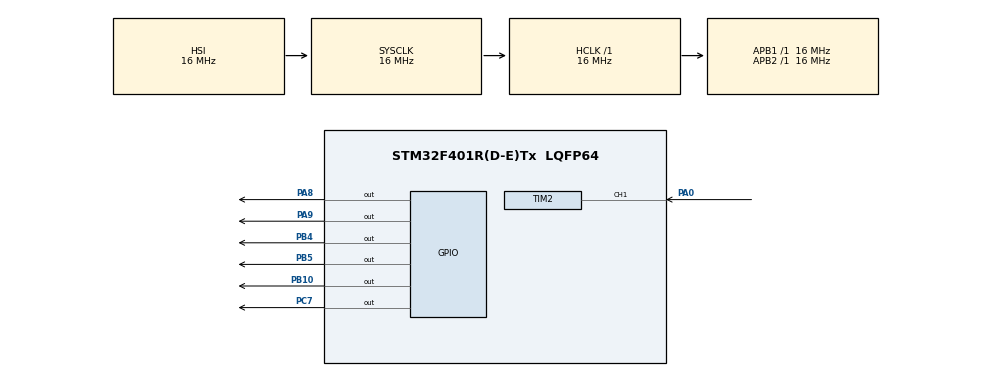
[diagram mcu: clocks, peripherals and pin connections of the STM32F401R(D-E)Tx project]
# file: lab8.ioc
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Mcu.Family=STM32F4
Mcu.Name=STM32F401R(D-E)Tx
Mcu.Package=LQFP64
NVIC.PriorityGroup=NVIC_PRIORITYGROUP_4
NVIC.TIM2_IRQn=true\:0\:0\:false\:false\:true\:true\:true\:true
NVIC.TIM3_IRQn=true\:0\:0\:false\:false\:true\:true\:true\:true
PA0-WKUP.Signal=S_TIM2_CH1_ETR
PA8.Signal=GPIO_Output
PA9.Signal=GPIO_Output
PB10.Signal=GPIO_Output
PB4.Signal=GPIO_Output
PB5.Signal=GPIO_Output
PC7.Signal=GPIO_Output
ProjectManager.HeapSize=0x200
ProjectManager.StackSize=0x400
ProjectManager.TargetToolchain=MDK-ARM V5.32
RCC.AHBFreq_Value=16000000
RCC.APB1Freq_Value=16000000
RCC.APB1TimFreq_Value=16000000
RCC.APB2Freq_Value=16000000
RCC.APB2TimFreq_Value=16000000
RCC.CortexFreq_Value=16000000
RCC.HCLKFreq_Value=16000000
RCC.HSE_VALUE=25000000
RCC.HSI_VALUE=16000000
RCC.LSE_VALUE=32768
RCC.SYSCLKFreq_VALUE=16000000
RCC.VCOOutputFreq_Value=192000000
SH.S_TIM2_CH1_ETR.0=TIM2_CH1,Input_Capture1_from_TI1
TIM2.AutoReloadPreload=TIM_AUTORELOAD_PRELOAD_DISABLE
TIM2.Channel-Input_Capture1_from_TI1=TIM_CHANNEL_1
TIM2.ICFilter_CH1=15
TIM2.ICPolarity_CH1=TIM_INPUTCHANNELPOLARITY_BOTHEDGE
TIM2.Period=4294967
TIM2.Prescaler=15999
TIM3.Period=9
TIM3.Prescaler=15999
TIM5.Prescaler=15999
VP_TIM2_VS_ClockSourceINT.Mode=Internal
VP_TIM3_VS_ClockSourceINT.Mode=Internal
VP_TIM5_VS_ClockSourceINT.Mode=Internal
board=custom

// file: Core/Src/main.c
/* USER CODE BEGIN Header */
/**
  ******************************************************************************
  * @file           : main.c
  * @brief          : Main program body
  ******************************************************************************
  * @attention
  *
  * Copyright (c) 2022 STMicroelectronics.
  * All rights reserved.
  *
  * This software is licensed under terms that can be found in the LICENSE file
  * in the root directory of this software component.
  * If no LICENSE file comes with this software, it is provided AS-IS.
  *
  ******************************************************************************
  */
/* USER CODE END Header */
#include "main.h"

/* USER CODE BEGIN Includes */
#define IDLE   0
#define DONE   1
#define F_CLK  72000000UL
#define RS 0x20     /* Pin mask for reg select (pin 5) */
#define RW 0x40     /* Pin mask for read/write (pin 6) */
#define EN 0x80     /* Pin mask for enable     (pin 7) */
/* USER CODE END Includes */

/* USER CODE BEGIN PTD */
volatile uint8_t gu8_State = IDLE;
volatile uint8_t gu8_MSG[35] = {'\0'};
volatile uint32_t gu32_T1 = 0;
volatile uint32_t gu32_T2 = 0;
volatile uint32_t start = 0;
int temp=0;
/* USER CODE END PTD */

 TIM_HandleTypeDef htim2;
TIM_HandleTypeDef htim3;
TIM_HandleTypeDef htim5;

void SystemClock_Config(void);
static void MX_GPIO_Init(void);
static void MX_TIM2_Init(void);
static void MX_TIM3_Init(void);
static void MX_TIM5_Init(void);
/* USER CODE BEGIN PFP */
char* convertIntegerToChar(uint32_t N);
/* USER CODE END PFP */

/* USER CODE BEGIN 0 */
void delayMs(int n) {
		int j;
    int i;
    for (; n>0; n--)
        for (i = 0; i < 3195; i++) {}
}

char* convertIntegerToChar(uint32_t N)
{
    int m = N;
    int digit = 0;
    while (m) {
        digit++;

        m /= 10;
    }
    char* arr;
    char arr1[digit];
    arr = (char*)malloc(digit);
    int index = 0;
    while (N) {
        arr1[++index] = N % 10 + '0';

        N /= 10;
    }
    int i;
    for (i = 0; i < index; i++) {
        arr[i] = arr1[index - i];
    }
    arr[i] = '\0';
    return (char*)arr;
}void LCD_nibble_write(char data, unsigned long control) {

	GPIOC->BSRR = 0xFFFF0000;
	GPIOA->BSRR = 0xFFEF0000;
	GPIOB->BSRR = 0xFFFF0000;

	if ( data & 0x10)
		GPIOB->BSRR = 0x00000020;
	if ( data & 0x20)
		GPIOB->BSRR = 0x00000010;
	if ( data & 0x40)
		GPIOB->BSRR = 0x00000400;

	if ( data & 0x80)
		GPIOA->BSRR = 0x00000100;

	 if (control & RS)
       GPIOA->BSRR = 0x00000200;
    else
       GPIOA->BSRR = 0x02000000;

		/* pulse E */
   GPIOC->BSRR = 0x00000080;
   delayMs(2);
   GPIOC->BSRR =  0x00800000;
}
void LCD_command(unsigned char command) {
    LCD_nibble_write(command & 0xF0, 0);    /* upper nibble first */
    LCD_nibble_write(command << 4, 0);      /* then lower nibble */

    if (command < 4)
        delayMs(2);         /* command 1 and 2 needs up to 1.64ms */
    else
        delayMs(1);         /* all others 40 us */
}
void LCD_data(char data) {
    LCD_nibble_write(data & 0xF0, RS);      /* upper nibble first */
    LCD_nibble_write(data << 4, RS);        /* then lower nibble */

    delayMs(1);
}
void LCD_init(void) {
    delayMs(20);                /* LCD controller reset sequence */
    LCD_nibble_write(0x30, 0);
    delayMs(5);
    LCD_nibble_write(0x30, 0);
    delayMs(1);
    LCD_nibble_write(0x30, 0);
    delayMs(1);

    LCD_nibble_write(0x20, 0);  /* use 4-bit data mode */
    delayMs(1);
    LCD_command(0x28);          /* set 4-bit data, 2-line, 5x7 font */
    LCD_command(0x06);          /* move cursor right */
    LCD_command(0x01);           /* clear screen, move cursor to home */
    LCD_command(0x0F);          /* turn on display, cursor blinking */
}
void LCD_clear(){
LCD_command(1);
}
void write(int i){
				uint32_t j=i;
				int count=0;
				while (j>0){
				j=j/10;
				count=count+1;
					}
				char* arr = convertIntegerToChar(i);
				for (int t = 0; t < count; t++){
					LCD_data(arr[t]);
				}

}
void HAL_TIM_PeriodElapsedCallback(TIM_HandleTypeDef* htim){
				uint32_t sadom=0;
				uint32_t second = 0;
				uint32_t min = 0;
			if ( htim->Instance == TIM3){
				LCD_clear();
				uint32_t i=__HAL_TIM_GET_COUNTER(&htim5);
				sadom=(i%1000)/10;
				second = (i/1000)%60;
				uint32_t min = i/60000;
				if (min>0) write(min);
				else LCD_data('0');
				LCD_data(':');
				if (second>0) write(second);
				else LCD_data('0');
				LCD_data(':');
				write(sadom);

	}
}

void HAL_TIM_IC_CaptureCallback(TIM_HandleTypeDef* htim)
	{
	if (htim->Instance == TIM2){
			if(temp!=0){
    if(gu8_State == IDLE)
    {
			__HAL_TIM_SetCounter(&htim2,0);
			gu32_T1 = 0;
			gu8_State=DONE;
    }
    else if(gu8_State == DONE)
    {
        gu32_T2 = __HAL_TIM_GetCompare(&htim2,TIM_CHANNEL_1);
				uint32_t time =gu32_T2-gu32_T1;
			__HAL_TIM_SetCounter(&htim2,0);
			if (time>=500){
				LCD_clear();
				LCD_data('0');
				LCD_data(':');
				LCD_data('0');
				LCD_data(':');
				LCD_data('0');
			__HAL_TIM_SetCounter(&htim5,0);
			__HAL_TIM_SetCounter(&htim3,0);
			}
			else{
			if (start ==1){
					start = 0;
					HAL_TIM_Base_Stop(&htim5);
					HAL_TIM_Base_Stop_IT(&htim3);
				}
				else{
				start=1;
				HAL_TIM_Base_Start(&htim5);
				HAL_TIM_Base_Start_IT(&htim3);
				}
			}
				gu8_State = IDLE;
				gu32_T1=0;
				gu32_T1=0;
    }}
	temp=temp+1;
	}

}

/* USER CODE END 0 */

int main(void)
{

  /* MCU Configuration--------------------------------------------------------*/

  /* Reset of all peripherals, Initializes the Flash interface and the Systick. */
  HAL_Init();

  /* Configure the system clock */
  SystemClock_Config();

  /* Initialize all configured peripherals */
  MX_GPIO_Init();
  MX_TIM2_Init();
  MX_TIM3_Init();
  MX_TIM5_Init();
  /* USER CODE BEGIN 2 */

	HAL_TIM_IC_Start_IT(&htim2,TIM_CHANNEL_1);
	LCD_init();

  /* USER CODE END 2 */

  /* Infinite loop */
  while (1)
  {

  }
}

void SystemClock_Config(void)
{
  RCC_OscInitTypeDef RCC_OscInitStruct = {0};
  RCC_ClkInitTypeDef RCC_ClkInitStruct = {0};

  /** Configure the main internal regulator output voltage
  */
  __HAL_RCC_PWR_CLK_ENABLE();
  __HAL_PWR_VOLTAGESCALING_CONFIG(PWR_REGULATOR_VOLTAGE_SCALE2);

  /** Initializes the RCC Oscillators according to the specified parameters
  * in the RCC_OscInitTypeDef structure.
  */
  RCC_OscInitStruct.OscillatorType = RCC_OSCILLATORTYPE_HSI;
  RCC_OscInitStruct.HSIState = RCC_HSI_ON;
  RCC_OscInitStruct.HSICalibrationValue = RCC_HSICALIBRATION_DEFAULT;
  RCC_OscInitStruct.PLL.PLLState = RCC_PLL_NONE;
  if (HAL_RCC_OscConfig(&RCC_OscInitStruct) != HAL_OK)
  {
    Error_Handler();
  }

  /** Initializes the CPU, AHB and APB buses clocks
  */
  RCC_ClkInitStruct.ClockType = RCC_CLOCKTYPE_HCLK|RCC_CLOCKTYPE_SYSCLK
                              |RCC_CLOCKTYPE_PCLK1|RCC_CLOCKTYPE_PCLK2;
  RCC_ClkInitStruct.SYSCLKSource = RCC_SYSCLKSOURCE_HSI;
  RCC_ClkInitStruct.AHBCLKDivider = RCC_SYSCLK_DIV1;
  RCC_ClkInitStruct.APB1CLKDivider = RCC_HCLK_DIV1;
  RCC_ClkInitStruct.APB2CLKDivider = RCC_HCLK_DIV1;

  if (HAL_RCC_ClockConfig(&RCC_ClkInitStruct, FLASH_LATENCY_0) != HAL_OK)
  {
    Error_Handler();
  }
}

static void MX_TIM2_Init(void)
{

  TIM_ClockConfigTypeDef sClockSourceConfig = {0};
  TIM_MasterConfigTypeDef sMasterConfig = {0};
  TIM_IC_InitTypeDef sConfigIC = {0};

  htim2.Instance = TIM2;
  htim2.Init.Prescaler = 15999;
  htim2.Init.CounterMode = TIM_COUNTERMODE_UP;
  htim2.Init.Period = 4294967;
  htim2.Init.ClockDivision = TIM_CLOCKDIVISION_DIV1;
  htim2.Init.AutoReloadPreload = TIM_AUTORELOAD_PRELOAD_DISABLE;
  if (HAL_TIM_Base_Init(&htim2) != HAL_OK)
  {
    Error_Handler();
  }
  sClockSourceConfig.ClockSource = TIM_CLOCKSOURCE_INTERNAL;
  if (HAL_TIM_ConfigClockSource(&htim2, &sClockSourceConfig) != HAL_OK)
  {
    Error_Handler();
  }
  if (HAL_TIM_IC_Init(&htim2) != HAL_OK)
  {
    Error_Handler();
  }
  sMasterConfig.MasterOutputTrigger = TIM_TRGO_RESET;
  sMasterConfig.MasterSlaveMode = TIM_MASTERSLAVEMODE_DISABLE;
  if (HAL_TIMEx_MasterConfigSynchronization(&htim2, &sMasterConfig) != HAL_OK)
  {
    Error_Handler();
  }
  sConfigIC.ICPolarity = TIM_INPUTCHANNELPOLARITY_BOTHEDGE;
  sConfigIC.ICSelection = TIM_ICSELECTION_DIRECTTI;
  sConfigIC.ICPrescaler = TIM_ICPSC_DIV1;
  sConfigIC.ICFilter = 15;
  if (HAL_TIM_IC_ConfigChannel(&htim2, &sConfigIC, TIM_CHANNEL_1) != HAL_OK)
  {
    Error_Handler();
  }

}

static void MX_TIM3_Init(void)
{

  TIM_ClockConfigTypeDef sClockSourceConfig = {0};
  TIM_MasterConfigTypeDef sMasterConfig = {0};

  htim3.Instance = TIM3;
  htim3.Init.Prescaler = 15999;
  htim3.Init.CounterMode = TIM_COUNTERMODE_UP;
  htim3.Init.Period = 9;
  htim3.Init.ClockDivision = TIM_CLOCKDIVISION_DIV1;
  htim3.Init.AutoReloadPreload = TIM_AUTORELOAD_PRELOAD_DISABLE;
  if (HAL_TIM_Base_Init(&htim3) != HAL_OK)
  {
    Error_Handler();
  }
  sClockSourceConfig.ClockSource = TIM_CLOCKSOURCE_INTERNAL;
  if (HAL_TIM_ConfigClockSource(&htim3, &sClockSourceConfig) != HAL_OK)
  {
    Error_Handler();
  }
  sMasterConfig.MasterOutputTrigger = TIM_TRGO_RESET;
  sMasterConfig.MasterSlaveMode = TIM_MASTERSLAVEMODE_DISABLE;
  if (HAL_TIMEx_MasterConfigSynchronization(&htim3, &sMasterConfig) != HAL_OK)
  {
    Error_Handler();
  }

}

static void MX_TIM5_Init(void)
{

  TIM_ClockConfigTypeDef sClockSourceConfig = {0};
  TIM_MasterConfigTypeDef sMasterConfig = {0};

  htim5.Instance = TIM5;
  htim5.Init.Prescaler = 15999;
  htim5.Init.CounterMode = TIM_COUNTERMODE_UP;
  htim5.Init.Period = 4294967295;
  htim5.Init.ClockDivision = TIM_CLOCKDIVISION_DIV1;
  htim5.Init.AutoReloadPreload = TIM_AUTORELOAD_PRELOAD_DISABLE;
  if (HAL_TIM_Base_Init(&htim5) != HAL_OK)
  {
    Error_Handler();
  }
  sClockSourceConfig.ClockSource = TIM_CLOCKSOURCE_INTERNAL;
  if (HAL_TIM_ConfigClockSource(&htim5, &sClockSourceConfig) != HAL_OK)
  {
    Error_Handler();
  }
  sMasterConfig.MasterOutputTrigger = TIM_TRGO_RESET;
  sMasterConfig.MasterSlaveMode = TIM_MASTERSLAVEMODE_DISABLE;
  if (HAL_TIMEx_MasterConfigSynchronization(&htim5, &sMasterConfig) != HAL_OK)
  {
    Error_Handler();
  }

}

static void MX_GPIO_Init(void)
{
  GPIO_InitTypeDef GPIO_InitStruct = {0};

  /* GPIO Ports Clock Enable */
  __HAL_RCC_GPIOA_CLK_ENABLE();
  __HAL_RCC_GPIOB_CLK_ENABLE();
  __HAL_RCC_GPIOC_CLK_ENABLE();

  /*Configure GPIO pin Output Level */
  HAL_GPIO_WritePin(GPIOB, GPIO_PIN_10|GPIO_PIN_4|GPIO_PIN_5, GPIO_PIN_RESET);

  /*Configure GPIO pin Output Level */
  HAL_GPIO_WritePin(GPIOC, GPIO_PIN_7, GPIO_PIN_RESET);

  /*Configure GPIO pin Output Level */
  HAL_GPIO_WritePin(GPIOA, GPIO_PIN_8|GPIO_PIN_9, GPIO_PIN_RESET);

  /*Configure GPIO pins : PB10 PB4 PB5 */
  GPIO_InitStruct.Pin = GPIO_PIN_10|GPIO_PIN_4|GPIO_PIN_5;
  GPIO_InitStruct.Mode = GPIO_MODE_OUTPUT_PP;
  GPIO_InitStruct.Pull = GPIO_NOPULL;
  GPIO_InitStruct.Speed = GPIO_SPEED_FREQ_LOW;
  HAL_GPIO_Init(GPIOB, &GPIO_InitStruct);

  /*Configure GPIO pin : PC7 */
  GPIO_InitStruct.Pin = GPIO_PIN_7;
  GPIO_InitStruct.Mode = GPIO_MODE_OUTPUT_PP;
  GPIO_InitStruct.Pull = GPIO_NOPULL;
  GPIO_InitStruct.Speed = GPIO_SPEED_FREQ_LOW;
  HAL_GPIO_Init(GPIOC, &GPIO_InitStruct);

  /*Configure GPIO pins : PA8 PA9 */
  GPIO_InitStruct.Pin = GPIO_PIN_8|GPIO_PIN_9;
  GPIO_InitStruct.Mode = GPIO_MODE_OUTPUT_PP;
  GPIO_InitStruct.Pull = GPIO_NOPULL;
  GPIO_InitStruct.Speed = GPIO_SPEED_FREQ_LOW;
  HAL_GPIO_Init(GPIOA, &GPIO_InitStruct);

}

void Error_Handler(void)
{
  __disable_irq();
  while (1)
  {
  }
}
